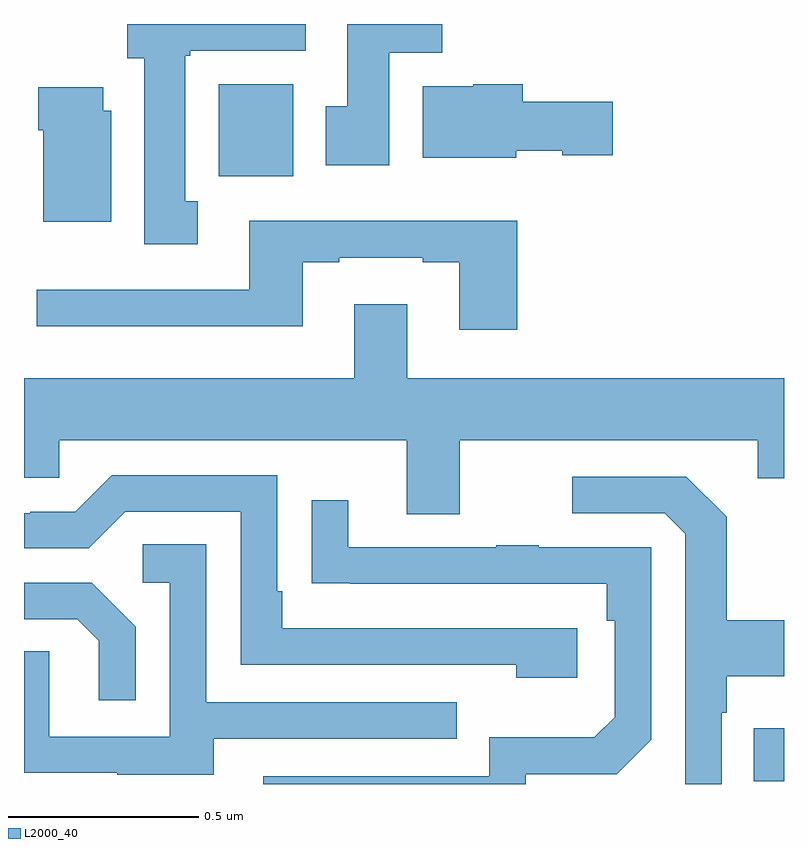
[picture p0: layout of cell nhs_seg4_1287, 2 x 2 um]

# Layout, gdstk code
import gdstk
lib = gdstk.Library(unit=1e-6, precision=1e-09)
def R(c, l, rs):  # rectangles x0, y0, x1, y1
    for r in rs: c.add(gdstk.rectangle(r[:2], r[2:], *l))
def P(c, l, *ps):  # polygons
    for p in ps: c.add(gdstk.Polygon(p, *l))
L2000_40 = (2000, 40)

nhs_seg4_1287 = lib.new_cell('nhs_seg4_1287')
R(nhs_seg4_1287, L2000_40, [(127.921,811.907,128,812.047), (126.512,813.5,126.709,813.742)])
P(nhs_seg4_1287, L2000_40, [(126.961,813.824),(127.1,813.824),(127.1,813.9),(126.851,813.9),(126.851,813.684),(126.794,813.684),(126.794,813.528),(126.961,813.528)],
  [(126.457,813.434),(126.424,813.434),(126.424,813.817),(126.438,813.817),(126.438,813.83),(126.742,813.83),(126.742,813.9),(126.272,813.9),(126.272,813.81),(126.317,813.81),(126.317,813.321),(126.457,813.321)],
  [(127.296,813.566),(127.416,813.566),(127.416,813.554),(127.549,813.554),(127.549,813.696),(127.313,813.696),(127.313,813.742),(127.182,813.742),(127.182,813.736),(127.049,813.736),(127.049,813.548),(127.296,813.548)],
  [(126.229,813.672),(126.208,813.672),(126.208,813.733),(126.038,813.733),(126.038,813.62),(126.05,813.62),(126.05,813.38),(126.229,813.38)],
  [(127.298,813.382),(126.593,813.382),(126.593,813.201),(126.033,813.201),(126.033,813.104),(126.733,813.104),(126.733,813.273),(126.829,813.273),(126.829,813.285),(127.049,813.285),(127.049,813.273),(127.145,813.273),(127.145,813.096),(127.298,813.096)],
  [(127.147,812.804),(127.931,812.804),(127.931,812.705),(128,812.705),(128,812.968),(127.009,812.968),(127.009,813.163),(126.869,813.163),(126.869,812.968),(126,812.968),(126,812.706),(126.093,812.706),(126.093,812.804),(127.007,812.804),(127.007,812.61),(127.147,812.61)],
  [(127.456,812.31),(126.679,812.31),(126.679,812.407),(126.666,812.407),(126.666,812.712),(126.231,812.712),(126.135,812.616),(126.017,812.616),(126.017,812.613),(126,812.613),(126,812.52),(126.171,812.52),(126.267,812.616),(126.57,812.616),(126.57,812.214),(127.295,812.214),(127.295,812.18),(127.456,812.18)],
  [(127.836,812.087),(127.849,812.087),(127.849,812.183),(128,812.183),(128,812.331),(127.849,812.331),(127.849,812.603),(127.743,812.709),(127.443,812.709),(127.443,812.613),(127.686,812.613),(127.74,812.559),(127.74,811.9),(127.836,811.9)],
  [(127.32,811.926),(127.56,811.926),(127.65,812.016),(127.65,812.523),(127.355,812.523),(127.355,812.528),(127.243,812.528),(127.243,812.523),(126.853,812.523),(126.853,812.647),(126.757,812.647),(126.757,812.428),(126.859,812.428),(126.859,812.427),(127.534,812.427),(127.534,812.33),(127.554,812.33),(127.554,812.076),(127.501,812.023),(127.224,812.023),(127.224,811.92),(126.629,811.92),(126.629,811.9),(127.32,811.9)],
  [(126.499,812.019),(127.139,812.019),(127.139,812.115),(126.48,812.115),(126.48,812.531),(126.312,812.531),(126.312,812.43),(126.384,812.43),(126.384,812.025),(126.066,812.025),(126.066,812.249),(126,812.249),(126,811.929),(126.245,811.929),(126.245,811.925),(126.499,811.925)],
  [(126.294,812.314),(126.178,812.43),(126,812.43),(126,812.334),(126.14,812.334),(126.197,812.277),(126.197,812.121),(126.294,812.121)])

lib.write_gds('nhs_seg4_1287.gds')
